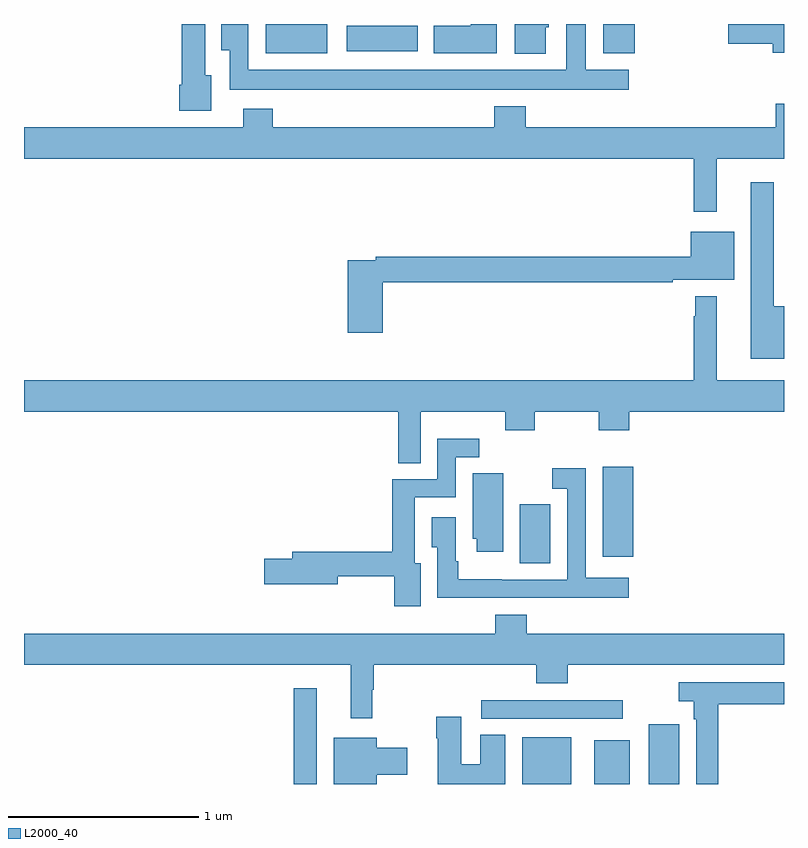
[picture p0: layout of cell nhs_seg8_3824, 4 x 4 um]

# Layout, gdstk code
import gdstk
lib = gdstk.Library(unit=1e-6, precision=1e-09)
def R(c, l, rs):  # rectangles x0, y0, x1, y1
    for r in rs: c.add(gdstk.rectangle(r[:2], r[2:], *l))
def P(c, l, *ps):  # polygons
    for p in ps: c.add(gdstk.Polygon(p, *l))
L2000_40 = (2000, 40)

nhs_seg8_3824 = lib.new_cell('nhs_seg8_3824')
R(nhs_seg8_3824, L2000_40, [(348.42,1087.9,348.541,1088.404), (349.622,1087.9,349.879,1088.146), (350,1087.9,350.188,1088.131), (350.288,1087.9,350.449,1088.215), (349.407,1088.244,350.152,1088.34), (349.61,1089.061,349.771,1089.372), (350.045,1089.096,350.206,1089.571), (348.272,1091.747,348.595,1091.9), (350.048,1091.747,350.214,1091.9), (348.699,1091.756,349.072,1091.89)])
P(nhs_seg8_3824, L2000_40, [(350.182,1091.659),(349.957,1091.659),(349.957,1091.9),(349.853,1091.9),(349.853,1091.659),(348.18,1091.659),(348.18,1091.9),(348.038,1091.9),(348.038,1091.761),(348.083,1091.761),(348.083,1091.555),(350.182,1091.555)],
  [(349.747,1091.883),(349.762,1091.883),(349.762,1091.9),(349.583,1091.9),(349.583,1091.744),(349.747,1091.744)],
  [(349.489,1091.9),(349.352,1091.9),(349.352,1091.89),(349.157,1091.89),(349.157,1091.747),(349.489,1091.747)],
  [(351,1091.9),(350.706,1091.9),(350.706,1091.797),(350.942,1091.797),(350.942,1091.75),(351,1091.75)],
  [(347.986,1091.631),(347.953,1091.631),(347.953,1091.9),(347.831,1091.9),(347.831,1091.58),(347.816,1091.58),(347.816,1091.444),(347.986,1091.444)],
  [(350.647,1091.192),(351,1091.192),(351,1091.48),(350.957,1091.48),(350.957,1091.356),(349.64,1091.356),(349.64,1091.467),(349.475,1091.467),(349.475,1091.356),(348.308,1091.356),(348.308,1091.455),(348.155,1091.455),(348.155,1091.356),(347,1091.356),(347,1091.192),(350.526,1091.192),(350.526,1090.911),(350.647,1090.911)],
  [(351,1090.415),(350.947,1090.415),(350.947,1091.068),(350.825,1091.068),(350.825,1090.139),(351,1090.139)],
  [(348.887,1090.54),(350.414,1090.54),(350.414,1090.553),(350.737,1090.553),(350.737,1090.807),(350.51,1090.807),(350.51,1090.676),(348.85,1090.676),(348.85,1090.656),(348.704,1090.656),(348.704,1090.275),(348.887,1090.275)],
  [(349.087,1089.86),(349.534,1089.86),(349.534,1089.761),(349.689,1089.761),(349.689,1089.86),(350.026,1089.86),(350.026,1089.761),(350.186,1089.761),(350.186,1089.86),(351,1089.86),(351,1090.024),(350.647,1090.024),(350.647,1090.468),(350.532,1090.468),(350.532,1090.361),(350.526,1090.361),(350.526,1090.024),(347,1090.024),(347,1089.86),(348.969,1089.86),(348.969,1089.589),(349.087,1089.589)],
  [(349.087,1089.063),(349.057,1089.063),(349.057,1089.408),(349.272,1089.408),(349.272,1089.621),(349.396,1089.621),(349.396,1089.718),(349.176,1089.718),(349.176,1089.504),(348.939,1089.504),(348.939,1089.122),(348.413,1089.122),(348.413,1089.086),(348.264,1089.086),(348.264,1088.951),(348.652,1088.951),(348.652,1088.994),(348.949,1088.994),(348.949,1088.835),(349.087,1088.835)],
  [(349.397,1088.88),(349.763,1088.88),(349.763,1088.879),(350.182,1088.879),(350.182,1088.986),(349.956,1088.986),(349.956,1089.562),(349.779,1089.562),(349.779,1089.453),(349.86,1089.453),(349.86,1088.976),(349.514,1088.976),(349.514,1088.977),(349.285,1088.977),(349.285,1089.073),(349.272,1089.073),(349.272,1089.304),(349.145,1089.304),(349.145,1089.145),(349.176,1089.145),(349.176,1088.879),(349.397,1088.879)],
  [(349.522,1089.536),(349.361,1089.536),(349.361,1089.192),(349.382,1089.192),(349.382,1089.123),(349.522,1089.123)],
  [(348.833,1088.396),(348.841,1088.396),(348.841,1088.528),(349.697,1088.528),(349.697,1088.429),(349.862,1088.429),(349.862,1088.528),(351,1088.528),(351,1088.692),(349.646,1088.692),(349.646,1088.791),(349.481,1088.791),(349.481,1088.692),(347,1088.692),(347,1088.528),(348.719,1088.528),(348.719,1088.247),(348.833,1088.247)],
  [(350.654,1088.32),(351,1088.32),(351,1088.436),(350.445,1088.436),(350.445,1088.336),(350.526,1088.336),(350.526,1088.24),(350.538,1088.24),(350.538,1087.9),(350.654,1087.9)],
  [(349.534,1088.159),(349.4,1088.159),(349.4,1088.005),(349.3,1088.005),(349.3,1088.254),(349.171,1088.254),(349.171,1088.141),(349.178,1088.141),(349.178,1087.9),(349.534,1087.9)],
  [(348.856,1087.949),(349.018,1087.949),(349.018,1088.091),(348.856,1088.091),(348.856,1088.143),(348.629,1088.143),(348.629,1087.9),(348.856,1087.9)])

lib.write_gds('nhs_seg8_3824.gds')
